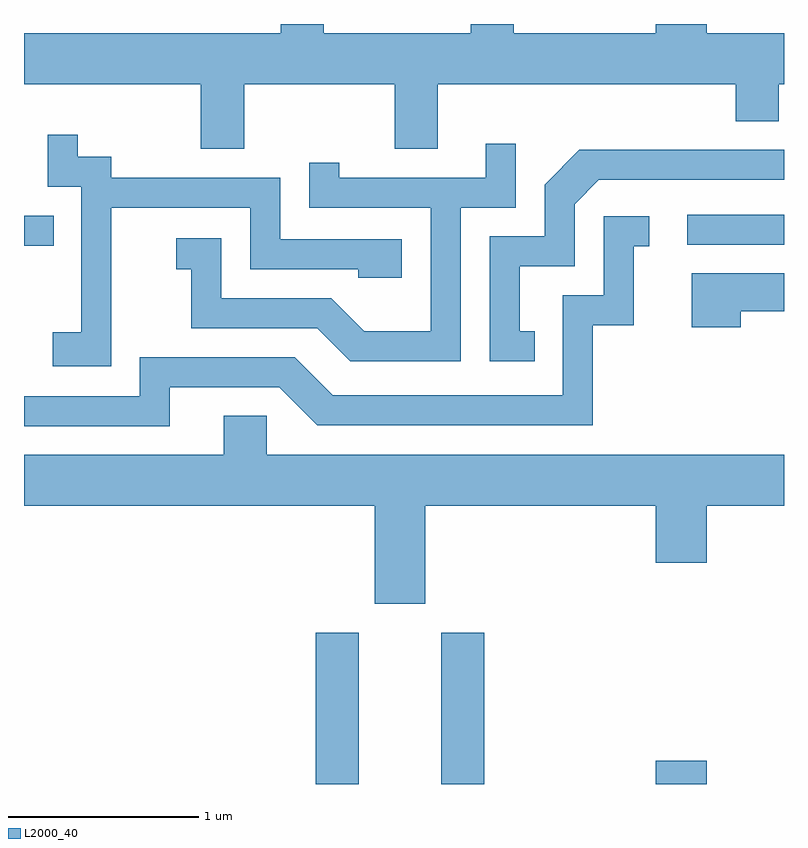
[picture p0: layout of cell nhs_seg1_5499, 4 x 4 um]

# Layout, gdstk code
import gdstk
lib = gdstk.Library(unit=1e-6, precision=1e-09)
def R(c, l, rs):  # rectangles x0, y0, x1, y1
    for r in rs: c.add(gdstk.rectangle(r[:2], r[2:], *l))
def P(c, l, *ps):  # polygons
    for p in ps: c.add(gdstk.Polygon(p, *l))
L2000_40 = (2000, 40)

nhs_seg1_5499 = lib.new_cell('nhs_seg1_5499')
R(nhs_seg1_5499, L2000_40, [(353.146,853.712,353.374,854.509), (353.806,853.712,354.034,854.509), (354.936,853.712,355.204,853.834), (351.611,856.546,351.768,856.704), (355.103,856.551,355.611,856.709)])
P(nhs_seg1_5499, L2000_40, [(352.769,857.396),(353.561,857.396),(353.561,857.056),(353.789,857.056),(353.789,857.396),(355.356,857.396),(355.356,857.201),(355.584,857.201),(355.584,857.396),(355.611,857.396),(355.611,857.664),(355.204,857.664),(355.204,857.712),(354.936,857.712),(354.936,857.664),(354.189,857.664),(354.189,857.712),(353.961,857.712),(353.961,857.664),(353.189,857.664),(353.189,857.712),(352.961,857.712),(352.961,857.664),(351.611,857.664),(351.611,857.396),(352.541,857.396),(352.541,857.056),(352.769,857.056)],
  [(352.069,856.746),(352.801,856.746),(352.801,856.421),(353.371,856.421),(353.371,856.376),(353.599,856.376),(353.599,856.579),(352.959,856.579),(352.959,856.904),(352.069,856.904),(352.069,857.014),(351.894,857.014),(351.894,857.128),(351.736,857.128),(351.736,856.856),(351.911,856.856),(351.911,856.089),(351.761,856.089),(351.761,855.911),(352.069,855.911)],
  [(353.909,856.746),(354.199,856.746),(354.199,857.083),(354.041,857.083),(354.041,856.904),(353.269,856.904),(353.269,856.983),(353.111,856.983),(353.111,856.746),(353.751,856.746),(353.751,856.094),(353.402,856.094),(353.227,856.269),(352.649,856.269),(352.649,856.584),(352.413,856.584),(352.413,856.421),(352.491,856.421),(352.491,856.111),(353.154,856.111),(353.329,855.936),(353.909,855.936)],
  [(354.298,856.094),(354.219,856.094),(354.219,856.436),(354.509,856.436),(354.509,856.764),(354.637,856.891),(355.611,856.891),(355.611,857.049),(354.534,857.049),(354.351,856.867),(354.351,856.594),(354.061,856.594),(354.061,855.936),(354.298,855.936)],
  [(352.379,855.801),(352.954,855.801),(353.154,855.601),(354.604,855.601),(354.604,856.126),(354.819,856.126),(354.819,856.541),(354.903,856.541),(354.903,856.699),(354.661,856.699),(354.661,856.284),(354.446,856.284),(354.446,855.759),(353.237,855.759),(353.037,855.959),(352.221,855.959),(352.221,855.754),(351.611,855.754),(351.611,855.596),(352.379,855.596)],
  [(355.384,856.201),(355.611,856.201),(355.611,856.399),(355.126,856.399),(355.126,856.116),(355.384,856.116)],
  [(353.724,855.176),(354.936,855.176),(354.936,854.876),(355.204,854.876),(355.204,855.176),(355.611,855.176),(355.611,855.444),(352.889,855.444),(352.889,855.649),(352.661,855.649),(352.661,855.444),(351.611,855.444),(351.611,855.176),(353.456,855.176),(353.456,854.661),(353.724,854.661)])

lib.write_gds('nhs_seg1_5499.gds')
